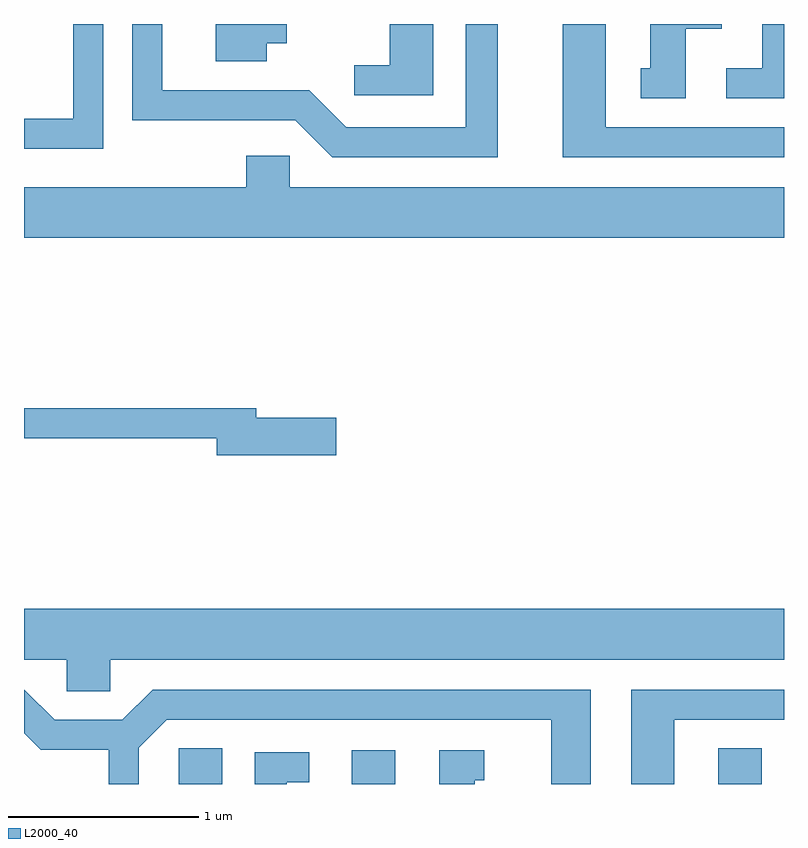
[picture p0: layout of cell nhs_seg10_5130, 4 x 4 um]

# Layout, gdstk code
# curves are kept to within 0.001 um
import gdstk
lib = gdstk.Library(unit=1e-6, precision=1e-09)
def R(c, l, rs):  # rectangles x0, y0, x1, y1
    for r in rs: c.add(gdstk.rectangle(r[:2], r[2:], *l))
def P(c, l, *ps):  # polygons
    for p in ps: c.add(gdstk.Polygon(p, *l))
L2000_40 = (2000, 40)

nhs_seg10_5130 = lib.new_cell('nhs_seg10_5130')
R(nhs_seg10_5130, L2000_40, [(336.426,2186.522,336.654,2186.709), (337.336,2186.522,337.564,2186.699), (339.266,2186.522,339.494,2186.709)])
P(nhs_seg10_5130, L2000_40, [(339.094,2190.496),(339.284,2190.496),(339.284,2190.522),(338.906,2190.522),(338.906,2190.289),(338.858,2190.289),(338.858,2190.131),(339.094,2190.131)],
  [(336.889,2190.421),(336.994,2190.421),(336.994,2190.522),(336.621,2190.522),(336.621,2190.326),(336.889,2190.326)],
  [(338.104,2190.522),(337.936,2190.522),(337.936,2189.979),(337.307,2189.979),(337.112,2190.174),(336.339,2190.174),(336.339,2190.522),(336.181,2190.522),(336.181,2190.016),(337.039,2190.016),(337.234,2189.821),(338.104,2189.821)],
  [(339.611,2190.522),(339.496,2190.522),(339.496,2190.289),(339.308,2190.289),(339.308,2190.131),(339.611,2190.131)],
  [(336.029,2190.522),(335.871,2190.522),(335.871,2190.024),(335.611,2190.024),(335.611,2189.866),(336.029,2189.866)],
  [(339.611,2189.979),(338.674,2189.979),(338.674,2190.522),(338.446,2190.522),(338.446,2189.821),(339.611,2189.821)],
  [(337.764,2190.522),(337.536,2190.522),(337.536,2190.304),(337.348,2190.304),(337.348,2190.146),(337.764,2190.146)],
  [(339.611,2189.664),(337.009,2189.664),(337.009,2189.829),(336.781,2189.829),(336.781,2189.664),(335.611,2189.664),(335.611,2189.396),(339.611,2189.396)],
  [(337.254,2188.449),(336.834,2188.449),(336.834,2188.499),(335.611,2188.499),(335.611,2188.341),(336.626,2188.341),(336.626,2188.251),(337.254,2188.251)],
  [(336.064,2187.176),(339.611,2187.176),(339.611,2187.444),(335.611,2187.444),(335.611,2187.176),(335.836,2187.176),(335.836,2187.011),(336.064,2187.011)],
  [(339.034,2186.861),(339.611,2186.861),(339.611,2187.019),(338.806,2187.019),(338.806,2186.522),(339.034,2186.522)],
  [(336.214,2186.714),(336.362,2186.861),(338.386,2186.861),(338.386,2186.522),(338.594,2186.522),(338.594,2187.019),(336.289,2187.019),(336.129,2186.859),(335.772,2186.859),(335.611,2187.019),(335.611,2186.789),(335.699,2186.701),(336.056,2186.701),(336.056,2186.522),(336.214,2186.522)],
  [(337.984,2186.541),(338.033,2186.541),(338.033,2186.699),(337.796,2186.699),(337.796,2186.522),(337.984,2186.522)],
  [(336.994,2186.531),(337.113,2186.531),(337.113,2186.689),(336.826,2186.689),(336.826,2186.522),(336.994,2186.522)])

lib.write_gds('nhs_seg10_5130.gds')
